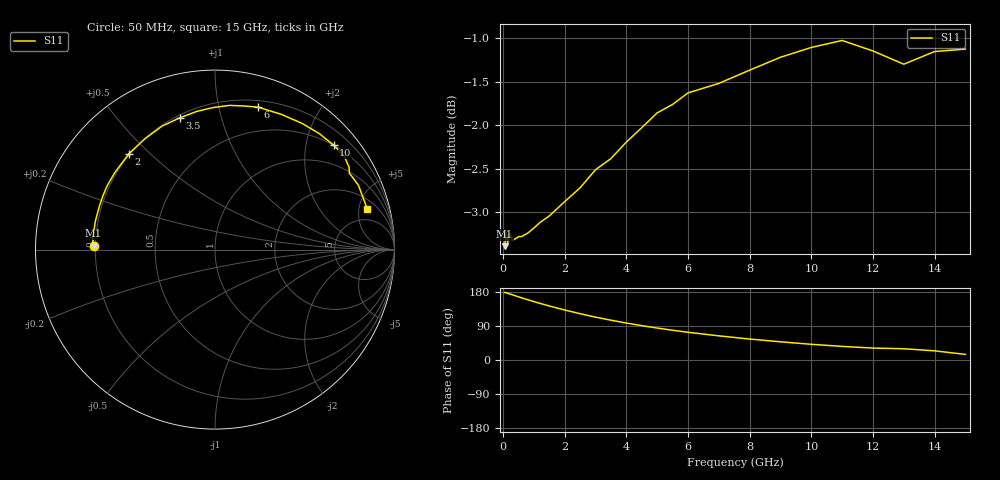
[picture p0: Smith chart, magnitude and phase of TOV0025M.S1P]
! SIEMENS Small Signal Semiconductors
! BAT15-03W
! Si Schottky Diode in SOD323
! IF = 25 mA
! S-Parameters:  May  1996
# GHz  S  MA  R  50
!  f  S11
! GHz  MAG  ANG
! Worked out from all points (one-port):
!   31 points, 50 MHz to 15 GHz, reference 50 ohm
!   lowest |S11| = -3.4 dB at 50 MHz (marker M1), VSWR 5.18, Z = 9.65 + j0.756 ohm
!   |S11| at or under -10 dB: nowhere
!   S11 on the Smith chart (normalised r, x): 50 MHz: 0.19, +0.02; 2 GHz: 0.20, +0.43; 3.5 GHz: 0.21, +0.74; 6 GHz: 0.26, +1.31; 10 GHz: 0.49, +2.56; 15 GHz: 3.12, +6.15
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0.05  0.6765 178.2
0.1  0.6888 177.6
0.15  0.6796 176.0
0.2  0.6878 174.6
0.25  0.6855 173.5
0.3  0.6817 172.0
0.5  0.6851 166.8
1  0.693 154.1
1.2  0.6981 149.4
1.5  0.7042 142.5
2  0.7177 131.9
2.5  0.731 122.2
3  0.7487 113.1
3.5  0.7599 105.0
4  0.7767 97.5
4.5  0.7917 90.7
5  0.8074 84.3
5.5  0.8165 78.5
6  0.829 73.2
7  0.8396 63.7
8  0.8545 55.3
9  0.8692 48.0
10  0.8806 41.4
11  0.8888 35.9
12  0.8765 31.5
13  0.8612 29.7
14  0.8758 24.2
15  0.8787 14.8
